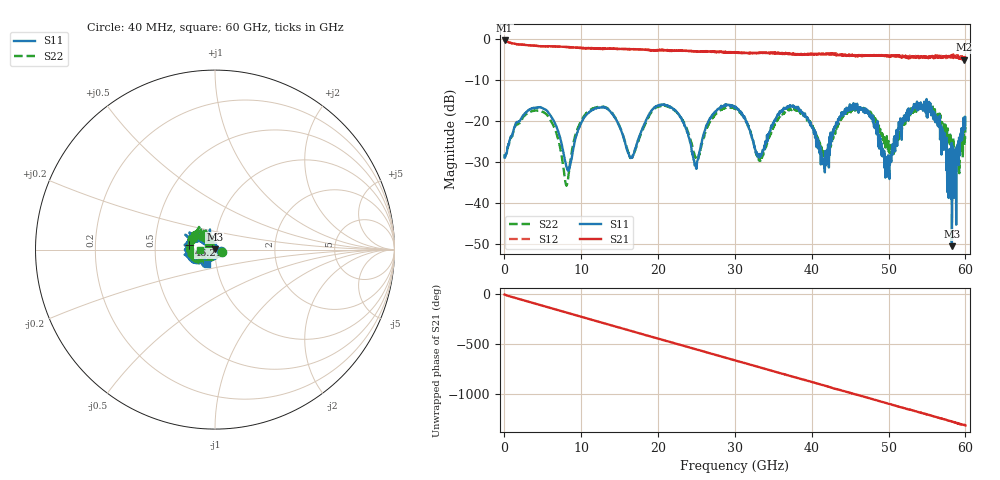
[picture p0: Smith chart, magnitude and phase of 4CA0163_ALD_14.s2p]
! File created by 'SoftPlot +Plus+ Measurement Management Software'
! SoftPlot +Plus+ Measurement Management Software
! Start 40.000000 MHz  Stop 60.000000 GHz  Points 1601
# MHZ S RI R 50
! S-Parameter data, F S11 S21 S12 S22
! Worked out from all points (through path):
!   1601 points, 40 MHz to 60 GHz, reference 50 ohm
!   highest |S21| = -0.37 dB at 40 MHz (marker M1); lowest = -5.1 dB at 59.85 GHz (marker M2)
!   group delay of S21, straight-line fit = 60.8 ps
!   lowest |S11| = -50.5 dB at 58.24 GHz (marker M3), VSWR 1.01, Z = 49.8 + j0.253 ohm
!   |S11| at or under -10 dB: start of sweep to end of sweep
!   |S22| runs from -35.8 to -15.9 dB; largest |S21 - S12| = 0.082
!   S11 on the Smith chart (normalised r, x): 40 MHz: 1.07, -0.02; 46.21 GHz: 0.75, +0.04; 60 GHz: 0.91, -0.14
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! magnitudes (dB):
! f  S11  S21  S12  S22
! 40 MHz  -28.9  -0.4  -0.4  -28.1
! 4.799 GHz  -16.7  -1.8  -1.8  -17.6
! 8.097 GHz  -31.3  -1.9  -2.0  -35.8
! 10.05 GHz  -20.3  -2.3  -2.2  -19.8
! 13.34 GHz  -17.0  -2.4  -2.4  -16.8
! 16.57 GHz  -28.8  -2.5  -2.5  -28.9
! 20.05 GHz  -16.2  -2.8  -2.7  -16.5
! 22.79 GHz  -18.6  -2.9  -2.9  -18.6
! 24.92 GHz  -30.6  -3.1  -3.0  -28.9
! 27.02 GHz  -18.6  -3.2  -3.0  -19.5
! 30.02 GHz  -16.6  -3.3  -3.2  -17.0
! 33.24 GHz  -28.7  -3.4  -3.4  -29.2
! 36.58 GHz  -17.0  -3.6  -3.6  -17.7
! 40.03 GHz  -21.6  -3.6  -3.7  -21.1
! 41.64 GHz  -31.3  -3.7  -3.8  -28.1
! 46.21 GHz  -16.7  -4.1  -3.9  -16.8
! 50.03 GHz  -31.1  -4.2  -4.0  -27.5
! 52.21 GHz  -19.1  -4.1  -4.4  -19.9
! 54.64 GHz  -15.3  -4.3  -4.4  -16.8
! 58.24 GHz  -50.5  -4.2  -4.3  -29.3
! 59.85 GHz  -21.2  -5.1  -4.7  -26.1
! 60 GHz  -21.0  -4.6  -4.7  -21.4
